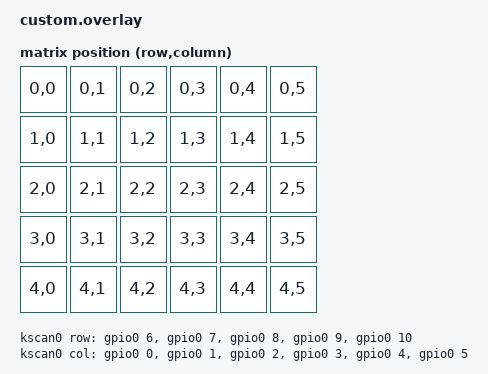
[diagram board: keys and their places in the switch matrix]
/ {
    /* Include the matrix transform bindings */
    #include <dt-bindings/zmk/matrix_transform.h>

    /* Define the keyboard scan node with custom pin assignments */
    kscan0: kscan0 {
        compatible = "zmk,kscan-gpio-matrix";
        diode-direction = "col2row";
        wakeup-source;

        /* Columns: d0, d1, d2, d3, d4, d5 */
        col-gpios = <&gpio0 0 GPIO_ACTIVE_HIGH>,
                    <&gpio0 1 GPIO_ACTIVE_HIGH>,
                    <&gpio0 2 GPIO_ACTIVE_HIGH>,
                    <&gpio0 3 GPIO_ACTIVE_HIGH>,
                    <&gpio0 4 GPIO_ACTIVE_HIGH>,
                    <&gpio0 5 GPIO_ACTIVE_HIGH>;

        /* Rows: d6, d7, d8, d9, d10 */
        row-gpios = <&gpio0 6 (GPIO_ACTIVE_HIGH | GPIO_PULL_DOWN)>,
                    <&gpio0 7 (GPIO_ACTIVE_HIGH | GPIO_PULL_DOWN)>,
                    <&gpio0 8 (GPIO_ACTIVE_HIGH | GPIO_PULL_DOWN)>,
                    <&gpio0 9 (GPIO_ACTIVE_HIGH | GPIO_PULL_DOWN)>,
                    <&gpio0 10 (GPIO_ACTIVE_HIGH | GPIO_PULL_DOWN)>;
    };

    /* Define the matrix transform mapping from row/column events to key positions */
    default_transform: keymap_transform0 {
        compatible = "zmk,matrix-transform";
        rows = <5>;
        columns = <6>;
        map = <
            /* Row 0 */
            RC(0,0) RC(0,1) RC(0,2) RC(0,3) RC(0,4) RC(0,5)
            /* Row 1 */
            RC(1,0) RC(1,1) RC(1,2) RC(1,3) RC(1,4) RC(1,5)
            /* Row 2 */
            RC(2,0) RC(2,1) RC(2,2) RC(2,3) RC(2,4) RC(2,5)
            /* Row 3 */
            RC(3,0) RC(3,1) RC(3,2) RC(3,3) RC(3,4) RC(3,5)
            /* Row 4 */
            RC(4,0) RC(4,1) RC(4,2) RC(4,3) RC(4,4) RC(4,5)
        >;
    };

    /* Define a physical layout node for integration with ZMK Studio (optional) */
    physical_layout0: physical_layout {
        compatible = "zmk,physical-layout";
        display-name = "Custom 5x6 Layout";
        kscan = <&kscan0>;
        transform = <&default_transform>;
    };

    /* Set the chosen physical layout for the build */
    chosen {
        zmk,physical-layout = &physical_layout0;
    };
};
